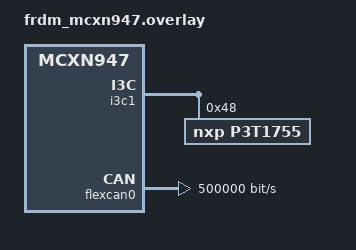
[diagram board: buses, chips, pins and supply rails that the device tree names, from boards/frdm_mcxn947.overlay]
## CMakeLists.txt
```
cmake_minimum_required(VERSION 3.20.0)

find_package(Zephyr REQUIRED HINTS $ENV{ZEPHYR_BASE})
project(CAN_internal_temp)

FILE(GLOB app_sources src/*.c)
target_sources(app PRIVATE ${app_sources})
```

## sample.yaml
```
sample:
  name: CAN + Internal Temp Demo
common:
  filter: dt_alias_exists("ambient-temp0")
  harness: console
tests:
  sample.sensor.thermometer:
    tags: sensors can
    harness_config:
      fixture: sensor_ambient_temp
      type: multi_line
      regex:
        - "Thermometer Example (.*)"
        - "Temperature device is 0x[0-9|a-z]+, name is [a-z|0-9]+@[a-z|0-9]+"
        - "Temperature is [0-9|.]+°C"
    integration_platforms:
      - frdm_mcxn947/mcxn947/cpu0
    extra_args:
      - platform:mimxrt1180_evk/mimxrt1189/cm33:SHIELD=p3t1755dp_ard_i2c
      - platform:mimxrt1180_evk/mimxrt1189/cm7:SHIELD=p3t1755dp_ard_i2c
      - platform:frdm_mcxn236/mcxn236:SHIELD=p3t1755dp_ard_i2c
      - platform:mimxrt700_evk/mimxrt798s/cm33_cpu0:SHIELD=p3t1755dp_ard_i2c
  sample.sensor.thermometer_i3c:
    tags: sensors
    harness_config:
      fixture: sensor_ambient_temp_i3c
      type: multi_line
      regex:
        - "Thermometer Example (.*)"
        - "Temperature device is 0x[0-9|a-z]+, name is [a-z|0-9]+@[a-z|0-9]+"
        - "Temperature is [0-9|.]+°C"
    integration_platforms:
      - frdm_mcxn947/mcxn947/cpu0 # p3t1755
      - frdm_mcxa153              # p3t1755
    depends_on:
      - i3c
    filter: dt_alias_exists("ambient-temp0")
    extra_args:
      - platform:mimxrt1180_evk/mimxrt1189/cm33:SHIELD=p3t1755dp_ard_i3c
      - platform:mimxrt1180_evk/mimxrt1189/cm7:SHIELD=p3t1755dp_ard_i3c
      - platform:frdm_mcxn236/mcxn236:SHIELD=p3t1755dp_ard_i3c
```

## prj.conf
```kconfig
# Sensors / console
CONFIG_SENSOR=y
CONFIG_PRINTK=y
CONFIG_LOG=y
CONFIG_LOG_DEFAULT_LEVEL=3
CONFIG_SERIAL=y
CONFIG_CONSOLE=y
CONFIG_UART_CONSOLE=y
CONFIG_CBPRINTF_FP_SUPPORT=y

# CAN (classic)
CONFIG_CAN=y
CONFIG_CAN_INIT_PRIORITY=80
# Leave CAN_FD off for now (CANopenNode would require classic too)
```

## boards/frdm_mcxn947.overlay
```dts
#include <freq.h>

/* -------- I3C: internal/ambient temperature sensor alias -------- */
 / {
    aliases {
        ambient-temp0 = &p3t1755;
    };
};

&i3c1 {
    status = "okay";

    i2c-scl-hz    = <DT_FREQ_K(400)>;
    i3c-scl-hz    = <DT_FREQ_M(4)>;
    i3c-od-scl-hz = <DT_FREQ_K(1500)>;

    p3t1755: p3t1755@4800000236152a0090 {
        compatible = "nxp,p3t1755";
        reg = <0x48 0x0236 0x152a0090>;
        status = "okay";
    };
};

/* ---------------------- CAN selection ---------------------- */
 / {
    chosen {
        zephyr,canbus = &flexcan0;  /* points CANopen/SocketCAN to CAN0 */
    };
};

/* ---------------------- CAN0 config ------------------------ */
&flexcan0 {
    status = "okay";
    pinctrl-0 = <&pinmux_flexcan0>;
    pinctrl-names = "default";

    /* Bitrate must match your PC adapter (-s6 = 500k) */
    bus-speed = <500000>;

    /* Optional timing (leave out if defaults work):
     * sjw = <1>;
     * prop-seg = <7>;
     * seg1 = <6>;
     * seg2 = <2>;
     */
};

/* CAN0 pins (TXD/RXD) */
&pinctrl {
    pinmux_flexcan0: pinmux_flexcan0 {
        group0 {
            pinmux = <CAN0_TXD_PIO1_10>,
                     <CAN0_RXD_PIO1_11>;
            slew-rate = "fast";
            drive-strength = "low";
            input-enable;
        };
    };
};
```

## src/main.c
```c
#include <zephyr/kernel.h>
#include <zephyr/drivers/sensor.h>
#include <zephyr/drivers/can.h>
#include <zephyr/sys/printk.h>

static double high_temp;
static double low_temp;

/* ----- helpers for temp ----- */
static int read_temperature(const struct device *dev, struct sensor_value *val)
{
    int ret = sensor_sample_fetch_chan(dev, SENSOR_CHAN_AMBIENT_TEMP);
    if (ret < 0) {
        printk("Could not fetch temperature: %d\n", ret);
        return ret;
    }
    ret = sensor_channel_get(dev, SENSOR_CHAN_AMBIENT_TEMP, val);
    if (ret < 0) {
        printk("Could not get temperature: %d\n", ret);
    }
    return ret;
}

static void temp_alert_handler(const struct device *dev, const struct sensor_trigger *trig)
{
    struct sensor_value value;
    if (read_temperature(dev, &value) < 0) {
        printk("Reading temperature failed\n");
        return;
    }
    double temp = sensor_value_to_double(&value);
    if (temp <= low_temp) {
        printk("Temperature below threshold: %0.1f°C\n", temp);
    } else if (temp >= high_temp) {
        printk("Temperature above threshold: %0.1f°C\n", temp);
    } else {
        printk("Error: temperature alert triggered without valid condition\n");
    }
}

/* ----- CAN receive callback (so you can see PC->MCU frames) ----- */
static void can_rx_cb(const struct device *dev, struct can_frame *frame, void *user_data)
{
    ARG_UNUSED(dev); ARG_UNUSED(user_data);
    bool ext = (frame->flags & CAN_FRAME_IDE) != 0;
    printk("CAN RX: id=0x%08x %s dlc=%d data=",
           frame->id, ext ? "EXT" : "STD", frame->dlc);
    for (int i = 0; i < frame->dlc; i++) {
        printk("%02X", frame->data[i]);
    }
    printk("\n");
}

void main(void)
{
    /* Temp device from your alias ambient-temp0 */
    const struct device *const tdev = DEVICE_DT_GET(DT_ALIAS(ambient_temp0));
    if (!device_is_ready(tdev)) {
        printk("Temp device %s not ready\n", tdev->name);
        return;
    }

    /* CAN device from chosen zephyr,canbus (your overlay points to &flexcan0) */
#if DT_HAS_CHOSEN(zephyr_canbus)
#define CAN_NODE DT_CHOSEN(zephyr_canbus)
#else
#define CAN_NODE DT_NODELABEL(can0)
#endif
    const struct device *const candev = DEVICE_DT_GET(CAN_NODE);
    if (!device_is_ready(candev)) {
        printk("CAN device not ready\n");
        return;
    }

    /* Start CAN (bitrate from DTS: bus-speed = <…>) */
    if (can_start(candev)) {
        printk("Failed to start CAN\n");
        return;
    }

    /* Install accept-all STD + EXT RX filters so you see cansend() from PC */
    struct can_filter flt = { .id = 0x000, .mask = 0x000, .flags = 0 };
    int fid = can_add_rx_filter(candev, can_rx_cb, NULL, &flt);
    if (fid < 0) printk("Add STD filter failed: %d\n", fid);
    flt.flags = CAN_FILTER_IDE; /* match IDE=1 */
    fid = can_add_rx_filter(candev, can_rx_cb, NULL, &flt);
    if (fid < 0) printk("Add EXT filter failed: %d\n", fid);

    printk("Thermometer Example (%s)\n", CONFIG_ARCH);
    printk("Temp dev: %s, CAN up. Publishing every 1s on ID 0x321\n", tdev->name);

    /* First read + set thresholds */
    struct sensor_value sval;
    if (read_temperature(tdev, &sval) != 0) return;
    double temp_c = sensor_value_to_double(&sval);

    const struct sensor_trigger trig = {
        .chan = SENSOR_CHAN_AMBIENT_TEMP,
        .type = SENSOR_TRIG_THRESHOLD,
    };

    low_temp = temp_c + 0.5;
    if (!sensor_value_from_double(&sval, low_temp)) {
        sensor_attr_set(tdev, SENSOR_CHAN_AMBIENT_TEMP, SENSOR_ATTR_LOWER_THRESH, &sval);
    }
    high_temp = temp_c + 1.5;
    if (!sensor_value_from_double(&sval, high_temp)) {
        sensor_attr_set(tdev, SENSOR_CHAN_AMBIENT_TEMP, SENSOR_ATTR_UPPER_THRESH, &sval);
    }
    sensor_trigger_set(tdev, &trig, temp_alert_handler);

    while (1) {
        if (read_temperature(tdev, &sval) != 0) {
            printk("Temp read failed\n");
            break;
        }
        temp_c = sensor_value_to_double(&sval);
        printk("Temperature is %0.2lf°C\n", temp_c);

        /* Pack temp as 0.01°C (centi-degC) into two bytes, little-endian */
        int16_t centi_c = (int16_t)(temp_c * 100.0f);

        struct can_frame tx = {
            .id    = 0x321,
            .flags = 0,   /* standard frame */
            .dlc   = 2,
        };
        tx.data[0] = (uint8_t)(centi_c & 0xFF);
        tx.data[1] = (uint8_t)((centi_c >> 8) & 0xFF);

        int ret = can_send(candev, &tx, K_MSEC(10), NULL, NULL);
        if (ret) {
            printk("CAN TX err %d\n", ret);
        }

        k_sleep(K_SECONDS(1));
    }
}
```
